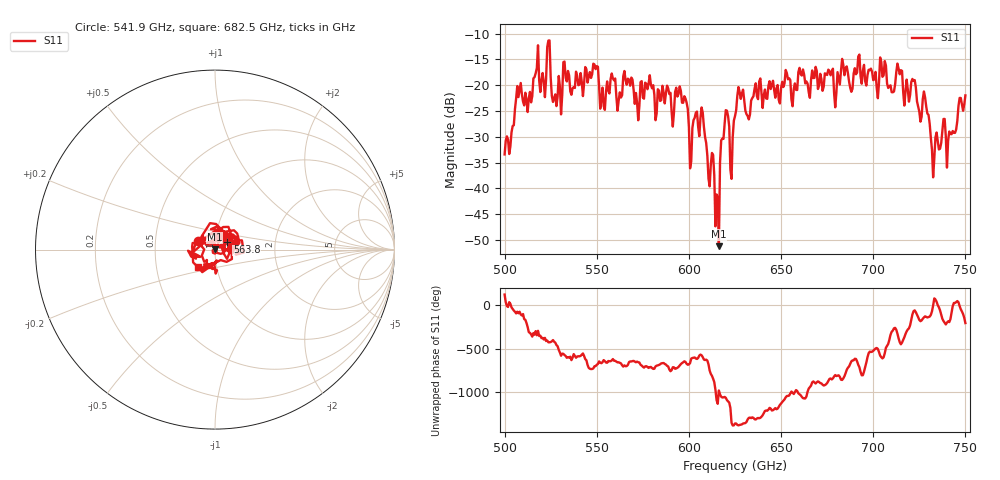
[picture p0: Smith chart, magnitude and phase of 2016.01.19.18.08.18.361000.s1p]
!Created with skrf (http://scikit-rf.org).
# GHz S RI R 50.0
!freq ReS11 ImS11
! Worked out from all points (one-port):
!   401 points, 500 GHz to 750 GHz, reference 50 ohm
!   lowest |S11| = -51.2 dB at 616.2 GHz (marker M1), VSWR 1.01, Z = 49.9 + j0.269 ohm
!   |S11| at or under -10 dB: start of sweep to end of sweep
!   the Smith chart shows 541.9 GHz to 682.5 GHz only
!   S11 on the Smith chart (normalised r, x): 541.9 GHz: 0.82, +0.08; 563.8 GHz: 1.14, +0.09; 682.5 GHz: 0.81, -0.16
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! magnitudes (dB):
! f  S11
! 500 GHz  -33.4
! 507.5 GHz  -22.3
! 513.8 GHz  -21.3
! 516.9 GHz  -17.7
! 531.2 GHz  -22.0
! 541.9 GHz  -19.4
! 549.4 GHz  -16.9
! 553.1 GHz  -20.5
! 558.8 GHz  -18.7
! 562.5 GHz  -21.4
! 563.8 GHz  -22.0
! 593.8 GHz  -22.2
! 601.2 GHz  -34.8
! 607.5 GHz  -25.3
! 615 GHz  -41.2
! 616.2 GHz  -51.2
! 619.4 GHz  -27.5
! 623.1 GHz  -38.2
! 625 GHz  -26.0
! 628.1 GHz  -22.7
! 656.2 GHz  -24.1
! 682.5 GHz  -17.2
! 687.5 GHz  -20.5
! 705 GHz  -18.4
! 718.8 GHz  -20.9
! 728.1 GHz  -22.4
! 732.5 GHz  -37.9
! 750 GHz  -22.0
